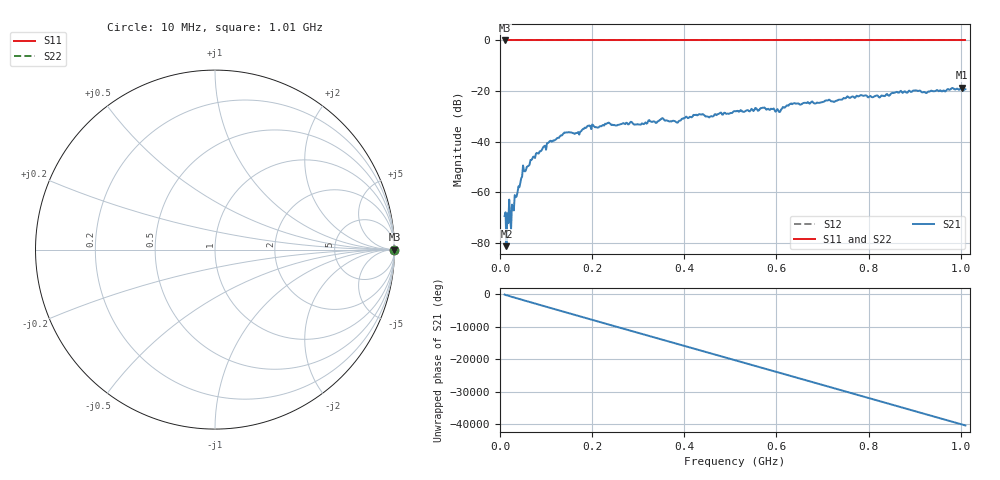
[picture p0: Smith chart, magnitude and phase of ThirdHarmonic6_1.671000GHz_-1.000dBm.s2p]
! 8/16/2025 8:02:30 PM
! C:\ANRITSUVNA\TEMP\TEMP.S2P
! CHANNEL.1
! TR.MEASUREMENT
! RAW.DATA
! RF.CORRECTION.OFF
! AVERAGING.OFF
! IF.BANDWIDTH: 5KHZ
! SWEEPTYPE:  FREQ.SWEEP(Linear)
! Reference Plane Port Info
! PORT:  PORT1  PORT2
! DISTANCE:  0  m  0  m
! TIME:  0  s  0  s
! PHASE.OFFSET:  0  deg.  0  deg.
! LOSS:  0  dB  0  dB
! REF.LOSS:  0  dB  0  dB
! REF.FREQ:  0  Hz  0  Hz
! Power Info
! POWER:  -20  dBm  -20  dBm
! EFF.POWER:  -20  dBm  -20  dBm
! SOURCE.ATTEN:  0  dB  0  dB
! TEST.ATTEN:  0  dB  0  dB
# GHZ S RI R 50.0
! FREQ.GHZ  S11RE  S11IM  S21RE  S21IM  S12RE  S12IM  S22RE  S22IM
!; PortSelection: Port_12
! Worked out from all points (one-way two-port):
!   501 points, 10 MHz to 1.01 GHz, reference 50 ohm
!   highest |S21| = -18.70 dB at 1.002 GHz (marker M1); lowest = -81.4 dB at 14 MHz (marker M2)
!   lowest |S11| = 0.0 dB at 10 MHz (marker M3)
!   |S11| at or under -10 dB: nowhere
!   |S22| runs from 0.0 to 0.0 dB; largest |S21 - S12| = 1.1
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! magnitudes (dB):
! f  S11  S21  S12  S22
! 10 MHz  0.0  -69.5  0.0  0.0
! 14 MHz  0.0  -81.4  0.0  0.0
! 24 MHz  0.0  -74.6  0.0  0.0
! 26 MHz  0.0  -65.0  0.0  0.0
! 30 MHz  0.0  -67.3  0.0  0.0
! 50 MHz  0.0  -49.5  0.0  0.0
! 70 MHz  0.0  -46.9  0.0  0.0
! 106 MHz  0.0  -40.3  0.0  0.0
! 140 MHz  0.0  -36.4  0.0  0.0
! 178 MHz  0.0  -35.5  0.0  0.0
! 232 MHz  0.0  -32.8  0.0  0.0
! 344 MHz  0.0  -31.9  0.0  0.0
! 386 MHz  0.0  -32.5  0.0  0.0
! 424 MHz  0.0  -29.5  0.0  0.0
! 510 MHz  0.0  -28.0  0.0  0.0
! 570 MHz  0.0  -26.6  0.0  0.0
! 604 MHz  0.0  -27.8  0.0  0.0
! 634 MHz  0.0  -25.2  0.0  0.0
! 678 MHz  0.0  -24.2  0.0  0.0
! 844 MHz  0.0  -21.9  0.0  0.0
! 1.002 GHz  0.0  -18.7  0.0  0.0
! 1.01 GHz  0.0  -19.3  0.0  0.0
